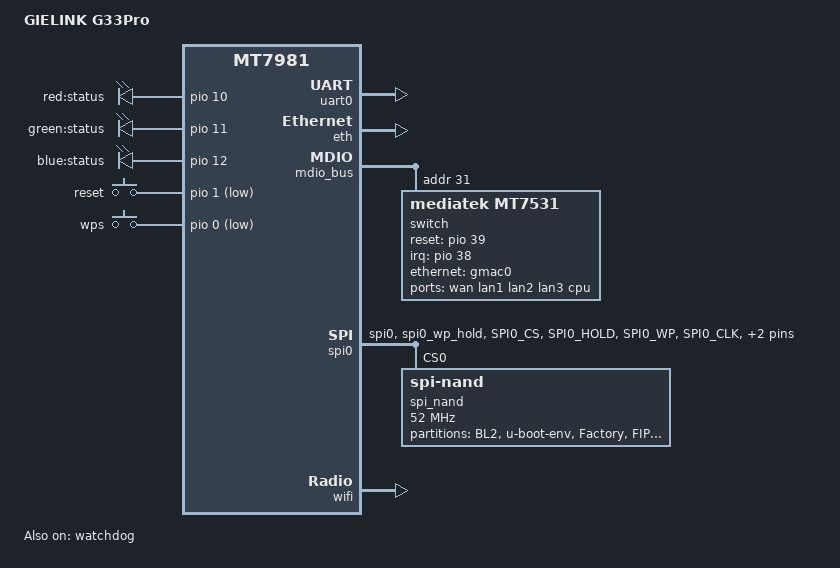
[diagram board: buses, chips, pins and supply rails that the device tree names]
// SPDX-License-Identifier: GPL-2.0-or-later OR MIT

/dts-v1/;
#include <dt-bindings/gpio/gpio.h>
#include <dt-bindings/input/input.h>
#include "mt7981.dtsi"

/ {
	model = "GIELINK G33Pro";
	compatible = "gielink,g33pro-v1", "gielink,g33pro", "mediatek,mt7981";

	aliases {
		serial0 = &uart0;
		label-mac-device = &gmac0;
		led-boot = &status_red_led;
		led-failsafe = &status_red_led;
		led-running = &status_green_led;
		led-upgrade = &status_red_led;
	};

	chosen {
		stdout-path = "serial0:115200n8";
	};

	leds {
		compatible = "gpio-leds";

		status_red_led: led-0 {
			label = "red:status";
			gpios = <&pio 10 GPIO_ACTIVE_HIGH>;
		};

		status_green_led: led-1 {
			label = "green:status";
			gpios = <&pio 11 GPIO_ACTIVE_HIGH>;
		};

		status_blue_led: led-2 {
			label = "blue:status";
			gpios = <&pio 12 GPIO_ACTIVE_HIGH>;
		};
	};

	gpio-keys {
		compatible = "gpio-keys";

		button-reset {
			label = "reset";
			linux,code = <KEY_RESTART>;
			gpios = <&pio 1 GPIO_ACTIVE_LOW>;
		};

		button-wps {
			label = "wps";
			gpios = <&pio 0 GPIO_ACTIVE_LOW>;
			linux,code = <BTN_9>;
			linux,input-type = <EV_SW>;
		};
	};

};

&uart0 {
	status = "okay";
};

&watchdog {
	status = "okay";
};

&eth {
	status = "okay";

	gmac0: mac@0 {
		compatible = "mediatek,eth-mac";
		reg = <0>;
		phy-mode = "2500base-x";

		nvmem-cells = <&macaddr_factory_a002a 0>;
		nvmem-cell-names = "mac-address";

		fixed-link {
			speed = <2500>;
			full-duplex;
			pause;
		};
	};
};

&mdio_bus {
	switch: switch@1f {
		compatible = "mediatek,mt7531";
		reg = <31>;
		reset-gpios = <&pio 39 GPIO_ACTIVE_HIGH>;
		interrupt-controller;
		#interrupt-cells = <1>;
		interrupt-parent = <&pio>;
		interrupts = <38 IRQ_TYPE_LEVEL_HIGH>;
	};
};

&switch {
	ports {
		#address-cells = <1>;
		#size-cells = <0>;

		/* G33Pro V1.3 physical jacks follow JCG Q30Pro layout. */
		port@0 {
			reg = <0>;
			label = "wan";

			nvmem-cells = <&macaddr_factory_a0024 0>;
			nvmem-cell-names = "mac-address";
		};

		port@1 {
			reg = <1>;
			label = "lan1";
		};

		port@2 {
			reg = <2>;
			label = "lan2";
		};

		port@3 {
			reg = <3>;
			label = "lan3";
		};

		port@6 {
			reg = <6>;
			label = "cpu";
			ethernet = <&gmac0>;
			phy-mode = "2500base-x";

			fixed-link {
				speed = <2500>;
				full-duplex;
				pause;
			};
		};
	};
};

&spi0 {
	pinctrl-names = "default";
	pinctrl-0 = <&spi0_flash_pins>;
	status = "okay";

	spi_nand: flash@0 {
		#address-cells = <1>;
		#size-cells = <1>;
		compatible = "spi-nand";
		reg = <0>;

		spi-max-frequency = <52000000>;
		spi-tx-bus-width = <4>;
		spi-rx-bus-width = <4>;
		mediatek,nmbm;
		mediatek,bmt-max-ratio = <1>;
		mediatek,bmt-max-reserved-blocks = <64>;

		spi-cal-enable;
		spi-cal-mode = "read-data";
		spi-cal-datalen = <7>;
		spi-cal-data = /bits/ 8 <0x53 0x50 0x49 0x4e 0x41 0x4e 0x44>;
		spi-cal-addrlen = <5>;
		spi-cal-addr = /bits/ 32 <0x0 0x0 0x0 0x0 0x0>;

		partitions {
			compatible = "fixed-partitions";
			#address-cells = <1>;
			#size-cells = <1>;

			partition@0 {
				label = "BL2";
				reg = <0x000000 0x100000>;
				read-only;
			};

			partition@100000 {
				label = "u-boot-env";
				reg = <0x100000 0x080000>;
			};

			factory: partition@180000 {
				label = "Factory";
				reg = <0x180000 0x200000>;
				read-only;

				compatible = "nvmem-cells";
				nvmem-layout {
					compatible = "fixed-layout";
					#address-cells = <1>;
					#size-cells = <1>;

					macaddr_factory_a002a: macaddr@a002a {
						compatible = "mac-base";
						reg = <0xa002a 0x6>;
						#nvmem-cell-cells = <1>;
					};

					macaddr_factory_a0024: macaddr@a0024 {
						compatible = "mac-base";
						reg = <0xa0024 0x6>;
						#nvmem-cell-cells = <1>;
					};
				};
			};

			partition@380000 {
				label = "FIP";
				reg = <0x380000 0x200000>;
				read-only;
			};

			ubi: partition@580000 {
				label = "ubi";
				reg = <0x580000 0x7000000>;
			};
		};
	};
};

&pio {
	spi0_flash_pins: spi0-pins {
		mux {
			function = "spi";
			groups = "spi0", "spi0_wp_hold";
		};

		conf-pu {
			pins = "SPI0_CS", "SPI0_HOLD", "SPI0_WP";
			drive-strength = <MTK_DRIVE_8mA>;
			bias-pull-up = <MTK_PUPD_SET_R1R0_11>;
		};

		conf-pd {
			pins = "SPI0_CLK", "SPI0_MOSI", "SPI0_MISO";
			drive-strength = <MTK_DRIVE_8mA>;
			bias-pull-down = <MTK_PUPD_SET_R1R0_11>;
		};
	};
};

&wifi {
	status = "okay";
	mediatek,mtd-eeprom = <&factory 0x0>;
};
